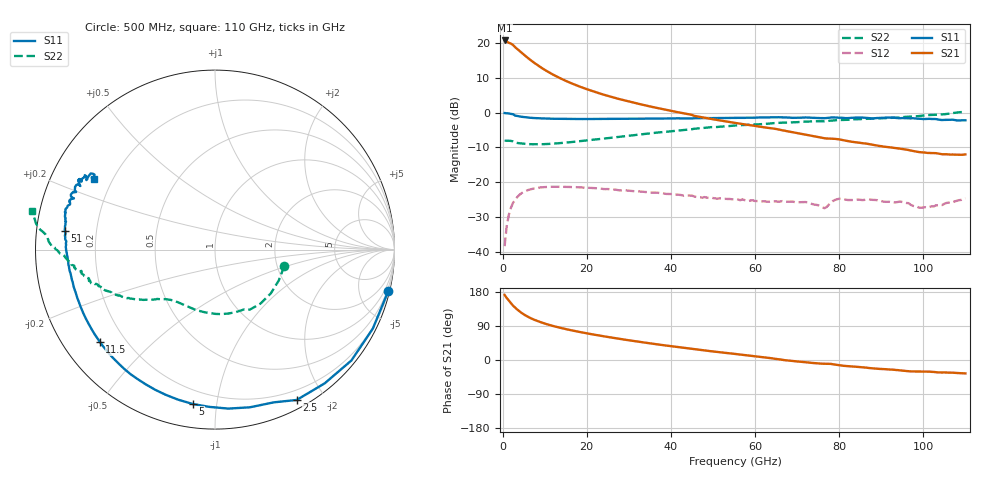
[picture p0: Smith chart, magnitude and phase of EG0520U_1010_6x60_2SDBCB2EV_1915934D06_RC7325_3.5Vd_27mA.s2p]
!File name = EG0520U_1010_6x60_2SDBCB2EV_1915934D06_RC7325_3.5Vd_27mA.s2p
!Base file name = EG0520U_1010_6x60_2SDBCB2EV_1915934D06_RC7325
!Date = 8/23/2019
!Time = 1:10 PM
!Test duration(min) = 0.15
!Test = S-Parameters
!MPTS version = 8.91.5
!State File = C:\Data\PNA\20190821205423\S-Parameters_2019-08-23.sta
!Cal File =
!ComputerName = CMPE-LAB-6
!Comments =
!Attenuation = 0
!Z0 = 50
!Input Power(dBm) = -13.00
!Device ID = EG0520U_1010_6x60_2SDBCB2EV
!Row = 73
!Column = 25
!Technology = QPHT09
!Lot/Wafer = 1915934D06
!Gate Size = 360
!Mask = EG0520
!Cal Standards = GaAs BCB
!Cal Kit = EG2306
!Job Number = 20190821205423
!Device Type = FET
!set_Vg(v) = -1.500
!set_Vd(v) = 3.500
!set_Vd(mA) = 27.000
!file_name = EG0520U_1010_6x60_2SDBCB2EV_1915934D06_RC7325_3.5Vd_27mA.s2p
!Vd(V) = 3.500
!Vd(mA) = 26.799
!Vg(V) = -0.606
!Vg(mA) = -0.005
# GHz  S  DB  R  50
!%	Freq(GHz)  s11(dB)  s11(deg)  s21(dB)  s21(deg)  s12(dB)  s12(deg)  s22(dB)  s22(deg)
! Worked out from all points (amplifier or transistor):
!   220 points, 500 MHz to 110 GHz, reference 50 ohm
!   highest |S21| = 20.9 dB at 500 MHz (marker M1)
!   |S21| within 3 dB of that: start of sweep to 4.032 GHz
!   unconditionally stable (mu >= 1): 34.84 GHz to 103.8 GHz
!   at 18.5 GHz: K = 0.51, MSG = 14.5 dB, |S12| = -21.5 dB
!   at 55.5 GHz: K = 1.46, MAG = 6.9 dB, |S12| = -24.9 dB
!   at 110 GHz: K = -1.83, MSG = 6.3 dB, |S12| = -24.6 dB
!   S11 on the Smith chart (normalised r, x): 500 MHz: 0.27, -8.49; 2.5 GHz: 0.09, -1.68; 5 GHz: 0.12, -0.86; 11.5 GHz: 0.11, -0.35; 51 GHz: 0.09, +0.06; 110 GHz: 0.13, +0.26
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0.5  -0.06 -13.4  20.86 171.7  -38.46 81.3  -8.03 -13.5
1  -0.14 -26.6  20.50 163.6  -32.65 74.4  -8.07 -25.9
1.5  -0.18 -39.1  20.20 156.8  -29.44 67.5  -8.06 -38.0
2  -0.32 -50.7  19.95 149.6  -27.38 61.0  -8.10 -49.9
2.5  -0.41 -61.5  19.55 143.4  -25.95 55.4  -8.25 -59.7
3.5  -0.92 -77.5  18.41 133.2  -24.29 46.7  -8.70 -71.4
4.5  -1.14 -92.0  17.36 124.5  -23.21 39.1  -8.85 -84.5
5  -1.22 -98.2  16.84 120.9  -22.83 36.0  -8.92 -89.9
6  -1.37 -108.8  15.84 114.3  -22.30 30.8  -9.02 -98.9
7.5  -1.51 -121.0  14.44 106.4  -21.82 24.6  -9.06 -109.0
9.5  -1.62 -132.6  12.79 98.1  -21.46 18.6  -9.06 -117.6
11.5  -1.70 -141.3  11.35 91.3  -21.34 13.9  -8.95 -123.8
14.5  -1.76 -150.6  9.51 82.9  -21.34 8.9  -8.66 -129.9
19  -1.80 -159.8  7.26 72.5  -21.53 3.5  -8.11 -135.4
27  -1.77 -170.0  4.20 57.3  -22.18 -2.1  -7.01 -141.4
37  -1.67 -177.9  1.32 40.9  -23.07 -4.9  -5.69 -147.7
51  -1.51 173.0  -2.06 21.4  -24.78 -4.9  -4.09 -157.5
55.5  -1.46 170.4  -2.95 15.7  -24.85 -5.4  -3.66 -160.0
73.5  -1.44 160.6  -6.65 -7.6  -26.27 -11.0  -2.44 -169.8
92  -1.40 152.5  -9.95 -25.1  -25.67 -21.6  -1.47 -177.9
101  -1.76 151.5  -11.57 -30.7  -27.34 -19.9  -0.70 177.7
110  -2.15 150.0  -12.00 -35.4  -24.63 -18.2  0.33 168.2
